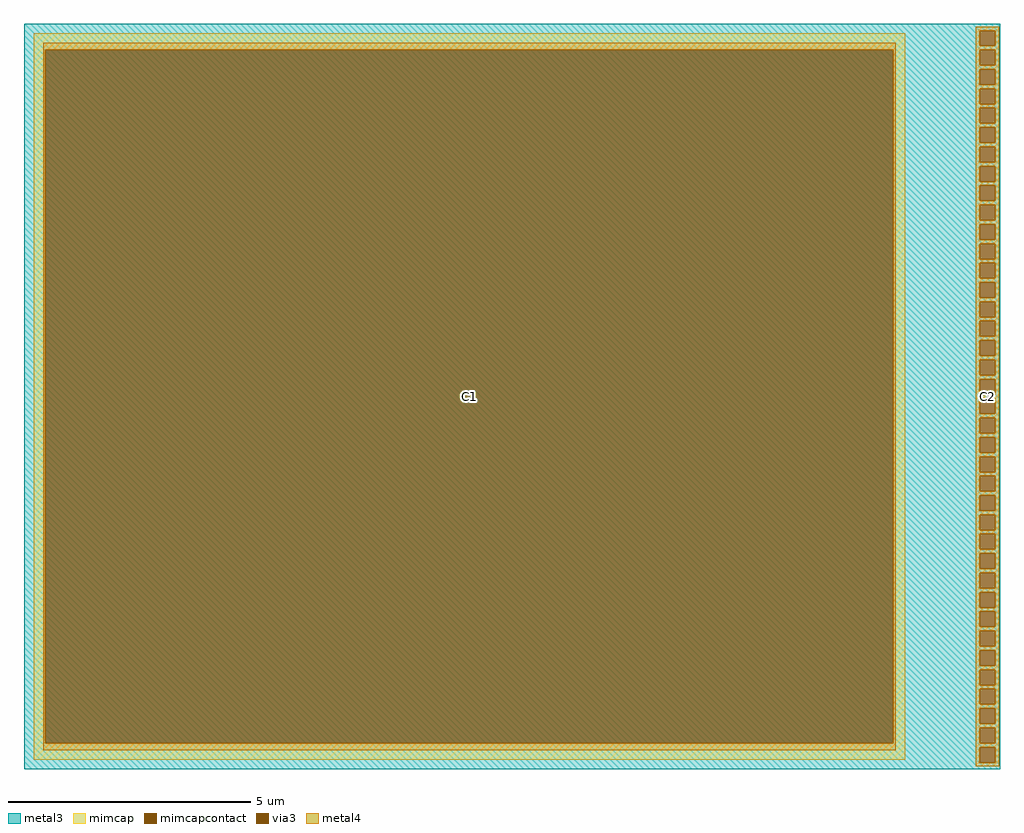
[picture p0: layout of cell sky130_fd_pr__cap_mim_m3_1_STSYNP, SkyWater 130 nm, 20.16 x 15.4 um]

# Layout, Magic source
magic
tech sky130A
magscale 1 2
<< metal3 >>
rect -2016 1512 2016 1540
rect -2016 1448 1932 1512
rect 1996 1448 2016 1512
rect -2016 1432 2016 1448
rect -2016 1368 1932 1432
rect 1996 1368 2016 1432
rect -2016 1352 2016 1368
rect -2016 1288 1932 1352
rect 1996 1288 2016 1352
rect -2016 1272 2016 1288
rect -2016 1208 1932 1272
rect 1996 1208 2016 1272
rect -2016 1192 2016 1208
rect -2016 1128 1932 1192
rect 1996 1128 2016 1192
rect -2016 1112 2016 1128
rect -2016 1048 1932 1112
rect 1996 1048 2016 1112
rect -2016 1032 2016 1048
rect -2016 968 1932 1032
rect 1996 968 2016 1032
rect -2016 952 2016 968
rect -2016 888 1932 952
rect 1996 888 2016 952
rect -2016 872 2016 888
rect -2016 808 1932 872
rect 1996 808 2016 872
rect -2016 792 2016 808
rect -2016 728 1932 792
rect 1996 728 2016 792
rect -2016 712 2016 728
rect -2016 648 1932 712
rect 1996 648 2016 712
rect -2016 632 2016 648
rect -2016 568 1932 632
rect 1996 568 2016 632
rect -2016 552 2016 568
rect -2016 488 1932 552
rect 1996 488 2016 552
rect -2016 472 2016 488
rect -2016 408 1932 472
rect 1996 408 2016 472
rect -2016 392 2016 408
rect -2016 328 1932 392
rect 1996 328 2016 392
rect -2016 312 2016 328
rect -2016 248 1932 312
rect 1996 248 2016 312
rect -2016 232 2016 248
rect -2016 168 1932 232
rect 1996 168 2016 232
rect -2016 152 2016 168
rect -2016 88 1932 152
rect 1996 88 2016 152
rect -2016 72 2016 88
rect -2016 8 1932 72
rect 1996 8 2016 72
rect -2016 -8 2016 8
rect -2016 -72 1932 -8
rect 1996 -72 2016 -8
rect -2016 -88 2016 -72
rect -2016 -152 1932 -88
rect 1996 -152 2016 -88
rect -2016 -168 2016 -152
rect -2016 -232 1932 -168
rect 1996 -232 2016 -168
rect -2016 -248 2016 -232
rect -2016 -312 1932 -248
rect 1996 -312 2016 -248
rect -2016 -328 2016 -312
rect -2016 -392 1932 -328
rect 1996 -392 2016 -328
rect -2016 -408 2016 -392
rect -2016 -472 1932 -408
rect 1996 -472 2016 -408
rect -2016 -488 2016 -472
rect -2016 -552 1932 -488
rect 1996 -552 2016 -488
rect -2016 -568 2016 -552
rect -2016 -632 1932 -568
rect 1996 -632 2016 -568
rect -2016 -648 2016 -632
rect -2016 -712 1932 -648
rect 1996 -712 2016 -648
rect -2016 -728 2016 -712
rect -2016 -792 1932 -728
rect 1996 -792 2016 -728
rect -2016 -808 2016 -792
rect -2016 -872 1932 -808
rect 1996 -872 2016 -808
rect -2016 -888 2016 -872
rect -2016 -952 1932 -888
rect 1996 -952 2016 -888
rect -2016 -968 2016 -952
rect -2016 -1032 1932 -968
rect 1996 -1032 2016 -968
rect -2016 -1048 2016 -1032
rect -2016 -1112 1932 -1048
rect 1996 -1112 2016 -1048
rect -2016 -1128 2016 -1112
rect -2016 -1192 1932 -1128
rect 1996 -1192 2016 -1128
rect -2016 -1208 2016 -1192
rect -2016 -1272 1932 -1208
rect 1996 -1272 2016 -1208
rect -2016 -1288 2016 -1272
rect -2016 -1352 1932 -1288
rect 1996 -1352 2016 -1288
rect -2016 -1368 2016 -1352
rect -2016 -1432 1932 -1368
rect 1996 -1432 2016 -1368
rect -2016 -1448 2016 -1432
rect -2016 -1512 1932 -1448
rect 1996 -1512 2016 -1448
rect -2016 -1540 2016 -1512
<< via3 >>
rect 1932 1448 1996 1512
rect 1932 1368 1996 1432
rect 1932 1288 1996 1352
rect 1932 1208 1996 1272
rect 1932 1128 1996 1192
rect 1932 1048 1996 1112
rect 1932 968 1996 1032
rect 1932 888 1996 952
rect 1932 808 1996 872
rect 1932 728 1996 792
rect 1932 648 1996 712
rect 1932 568 1996 632
rect 1932 488 1996 552
rect 1932 408 1996 472
rect 1932 328 1996 392
rect 1932 248 1996 312
rect 1932 168 1996 232
rect 1932 88 1996 152
rect 1932 8 1996 72
rect 1932 -72 1996 -8
rect 1932 -152 1996 -88
rect 1932 -232 1996 -168
rect 1932 -312 1996 -248
rect 1932 -392 1996 -328
rect 1932 -472 1996 -408
rect 1932 -552 1996 -488
rect 1932 -632 1996 -568
rect 1932 -712 1996 -648
rect 1932 -792 1996 -728
rect 1932 -872 1996 -808
rect 1932 -952 1996 -888
rect 1932 -1032 1996 -968
rect 1932 -1112 1996 -1048
rect 1932 -1192 1996 -1128
rect 1932 -1272 1996 -1208
rect 1932 -1352 1996 -1288
rect 1932 -1432 1996 -1368
rect 1932 -1512 1996 -1448
<< mimcap >>
rect -1976 1432 1624 1500
rect -1976 -1432 -1928 1432
rect 1576 -1432 1624 1432
rect -1976 -1500 1624 -1432
<< mimcapcontact >>
rect -1928 -1432 1576 1432
<< metal4 >>
rect 1916 1512 2012 1528
rect -1937 1432 1585 1461
rect -1937 -1432 -1928 1432
rect 1576 -1432 1585 1432
rect -1937 -1461 1585 -1432
rect 1916 1448 1932 1512
rect 1996 1448 2012 1512
rect 1916 1432 2012 1448
rect 1916 1368 1932 1432
rect 1996 1368 2012 1432
rect 1916 1352 2012 1368
rect 1916 1288 1932 1352
rect 1996 1288 2012 1352
rect 1916 1272 2012 1288
rect 1916 1208 1932 1272
rect 1996 1208 2012 1272
rect 1916 1192 2012 1208
rect 1916 1128 1932 1192
rect 1996 1128 2012 1192
rect 1916 1112 2012 1128
rect 1916 1048 1932 1112
rect 1996 1048 2012 1112
rect 1916 1032 2012 1048
rect 1916 968 1932 1032
rect 1996 968 2012 1032
rect 1916 952 2012 968
rect 1916 888 1932 952
rect 1996 888 2012 952
rect 1916 872 2012 888
rect 1916 808 1932 872
rect 1996 808 2012 872
rect 1916 792 2012 808
rect 1916 728 1932 792
rect 1996 728 2012 792
rect 1916 712 2012 728
rect 1916 648 1932 712
rect 1996 648 2012 712
rect 1916 632 2012 648
rect 1916 568 1932 632
rect 1996 568 2012 632
rect 1916 552 2012 568
rect 1916 488 1932 552
rect 1996 488 2012 552
rect 1916 472 2012 488
rect 1916 408 1932 472
rect 1996 408 2012 472
rect 1916 392 2012 408
rect 1916 328 1932 392
rect 1996 328 2012 392
rect 1916 312 2012 328
rect 1916 248 1932 312
rect 1996 248 2012 312
rect 1916 232 2012 248
rect 1916 168 1932 232
rect 1996 168 2012 232
rect 1916 152 2012 168
rect 1916 88 1932 152
rect 1996 88 2012 152
rect 1916 72 2012 88
rect 1916 8 1932 72
rect 1996 8 2012 72
rect 1916 -8 2012 8
rect 1916 -72 1932 -8
rect 1996 -72 2012 -8
rect 1916 -88 2012 -72
rect 1916 -152 1932 -88
rect 1996 -152 2012 -88
rect 1916 -168 2012 -152
rect 1916 -232 1932 -168
rect 1996 -232 2012 -168
rect 1916 -248 2012 -232
rect 1916 -312 1932 -248
rect 1996 -312 2012 -248
rect 1916 -328 2012 -312
rect 1916 -392 1932 -328
rect 1996 -392 2012 -328
rect 1916 -408 2012 -392
rect 1916 -472 1932 -408
rect 1996 -472 2012 -408
rect 1916 -488 2012 -472
rect 1916 -552 1932 -488
rect 1996 -552 2012 -488
rect 1916 -568 2012 -552
rect 1916 -632 1932 -568
rect 1996 -632 2012 -568
rect 1916 -648 2012 -632
rect 1916 -712 1932 -648
rect 1996 -712 2012 -648
rect 1916 -728 2012 -712
rect 1916 -792 1932 -728
rect 1996 -792 2012 -728
rect 1916 -808 2012 -792
rect 1916 -872 1932 -808
rect 1996 -872 2012 -808
rect 1916 -888 2012 -872
rect 1916 -952 1932 -888
rect 1996 -952 2012 -888
rect 1916 -968 2012 -952
rect 1916 -1032 1932 -968
rect 1996 -1032 2012 -968
rect 1916 -1048 2012 -1032
rect 1916 -1112 1932 -1048
rect 1996 -1112 2012 -1048
rect 1916 -1128 2012 -1112
rect 1916 -1192 1932 -1128
rect 1996 -1192 2012 -1128
rect 1916 -1208 2012 -1192
rect 1916 -1272 1932 -1208
rect 1996 -1272 2012 -1208
rect 1916 -1288 2012 -1272
rect 1916 -1352 1932 -1288
rect 1996 -1352 2012 -1288
rect 1916 -1368 2012 -1352
rect 1916 -1432 1932 -1368
rect 1996 -1432 2012 -1368
rect 1916 -1448 2012 -1432
rect 1916 -1512 1932 -1448
rect 1996 -1512 2012 -1448
rect 1916 -1528 2012 -1512
<< labels >>
rlabel metal4 s 1964 0 1964 0 4 C2
rlabel metal4 s -176 0 -176 0 4 C1
<< properties >>
string FIXED_BBOX -2016 -1540 1664 1540
<< end >>
